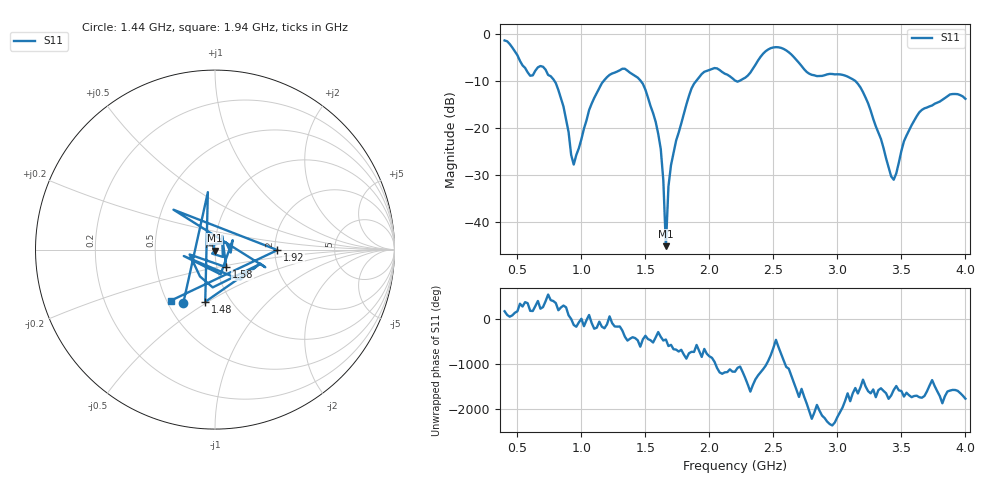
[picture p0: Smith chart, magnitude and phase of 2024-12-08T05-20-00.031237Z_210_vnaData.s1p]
!Created with skrf (http://scikit-rf.org).
# Hz S RI R 50.0
!freq ReS11 ImS11
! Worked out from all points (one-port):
!   181 points, 400 MHz to 4 GHz, reference 50 ohm
!   lowest |S11| = -45.3 dB at 1.66 GHz (marker M1), VSWR 1.01, Z = 49.9 - j0.531 ohm
!   |S11| at or under -10 dB: 790.2 MHz to 1.173 GHz (382.6 MHz wide, 39 % of centre); 1.465 GHz to 1.896 GHz (431.6 MHz wide, 25.7 % of centre); 3.141 GHz to end of sweep (the widest 3 of 4)
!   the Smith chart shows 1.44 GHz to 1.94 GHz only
!   S11 on the Smith chart (normalised r, x): 1.44 GHz: 0.60, -0.40; 1.48 GHz: 0.76, -0.49; 1.58 GHz: 1.11, -0.22; 1.92 GHz: 2.07, -0.01; 1.94 GHz: 0.52, -0.35
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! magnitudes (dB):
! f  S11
! 400 MHz  -1.3
! 600 MHz  -8.8
! 700 MHz  -6.9
! 860 MHz  -15.4
! 940 MHz  -27.8
! 1.1 GHz  -13.6
! 1.3 GHz  -7.7
! 1.44 GHz  -9.2
! 1.48 GHz  -10.6
! 1.58 GHz  -18.7
! 1.62 GHz  -24.5
! 1.64 GHz  -31.2
! 1.66 GHz  -45.3
! 1.68 GHz  -32.5
! 1.76 GHz  -21.0
! 1.86 GHz  -11.6
! 1.92 GHz  -9.2
! 1.94 GHz  -8.5
! 2.2 GHz  -9.9
! 2.48 GHz  -2.9
! 2.66 GHz  -4.9
! 2.8 GHz  -8.7
! 3.1 GHz  -9.3
! 3.24 GHz  -14.7
! 3.44 GHz  -31.1
! 3.56 GHz  -20.5
! 3.68 GHz  -15.8
! 4 GHz  -13.8
